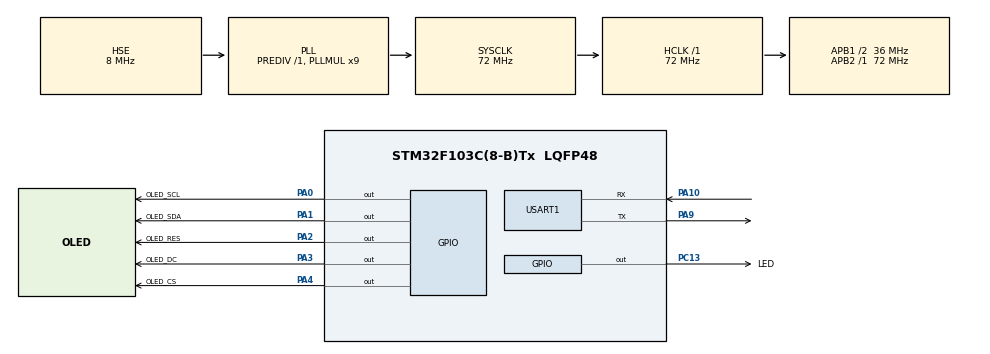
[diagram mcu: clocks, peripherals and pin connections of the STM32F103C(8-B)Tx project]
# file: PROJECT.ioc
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Dma.Request0=USART1_RX
Dma.Request1=USART1_TX
Dma.USART1_RX.0.Direction=DMA_PERIPH_TO_MEMORY
Dma.USART1_RX.0.Instance=DMA1_Channel5
Dma.USART1_RX.0.MemDataAlignment=DMA_MDATAALIGN_BYTE
Dma.USART1_RX.0.MemInc=DMA_MINC_ENABLE
Dma.USART1_RX.0.Mode=DMA_NORMAL
Dma.USART1_RX.0.PeriphDataAlignment=DMA_PDATAALIGN_BYTE
Dma.USART1_RX.0.PeriphInc=DMA_PINC_DISABLE
Dma.USART1_RX.0.Priority=DMA_PRIORITY_HIGH
Dma.USART1_TX.1.Direction=DMA_MEMORY_TO_PERIPH
Dma.USART1_TX.1.Instance=DMA1_Channel4
Dma.USART1_TX.1.MemDataAlignment=DMA_MDATAALIGN_BYTE
Dma.USART1_TX.1.MemInc=DMA_MINC_ENABLE
Dma.USART1_TX.1.Mode=DMA_NORMAL
Dma.USART1_TX.1.PeriphDataAlignment=DMA_PDATAALIGN_BYTE
Dma.USART1_TX.1.PeriphInc=DMA_PINC_DISABLE
Dma.USART1_TX.1.Priority=DMA_PRIORITY_MEDIUM
Mcu.Family=STM32F1
Mcu.Name=STM32F103C(8-B)Tx
Mcu.Package=LQFP48
NVIC.DMA1_Channel4_IRQn=true\:0\:0\:false\:false\:true\:false\:true\:true
NVIC.DMA1_Channel5_IRQn=true\:0\:0\:false\:false\:true\:false\:true\:true
NVIC.PriorityGroup=NVIC_PRIORITYGROUP_4
NVIC.USART1_IRQn=true\:1\:0\:true\:false\:true\:true\:true\:true
PA0-WKUP.GPIO_Label=OLED_SCL
PA0-WKUP.GPIO_Speed=GPIO_SPEED_FREQ_HIGH
PA0-WKUP.PinState=GPIO_PIN_SET
PA0-WKUP.Signal=GPIO_Output
PA1.GPIO_Label=OLED_SDA
PA1.GPIO_Speed=GPIO_SPEED_FREQ_HIGH
PA1.PinState=GPIO_PIN_SET
PA1.Signal=GPIO_Output
PA10.Mode=Asynchronous
PA10.Signal=USART1_RX
PA13.Mode=Serial_Wire
PA13.Signal=SYS_JTMS-SWDIO
PA14.Mode=Serial_Wire
PA14.Signal=SYS_JTCK-SWCLK
PA2.GPIO_Label=OLED_RES
PA2.GPIO_Speed=GPIO_SPEED_FREQ_HIGH
PA2.PinState=GPIO_PIN_SET
PA2.Signal=GPIO_Output
PA3.GPIO_Label=OLED_DC
PA3.GPIO_Speed=GPIO_SPEED_FREQ_HIGH
PA3.PinState=GPIO_PIN_SET
PA3.Signal=GPIO_Output
PA4.GPIO_Label=OLED_CS
PA4.GPIO_Speed=GPIO_SPEED_FREQ_HIGH
PA4.PinState=GPIO_PIN_SET
PA4.Signal=GPIO_Output
PA9.Mode=Asynchronous
PA9.Signal=USART1_TX
PC13-TAMPER-RTC.GPIO_Label=LED
PC13-TAMPER-RTC.Signal=GPIO_Output
PC14-OSC32_IN.Mode=LSE-External-Oscillator
PC14-OSC32_IN.Signal=RCC_OSC32_IN
PC15-OSC32_OUT.Mode=LSE-External-Oscillator
PC15-OSC32_OUT.Signal=RCC_OSC32_OUT
PD0-OSC_IN.Mode=HSE-External-Oscillator
PD0-OSC_IN.Signal=RCC_OSC_IN
PD1-OSC_OUT.Mode=HSE-External-Oscillator
PD1-OSC_OUT.Signal=RCC_OSC_OUT
ProjectManager.HeapSize=0x200
ProjectManager.StackSize=0x400
ProjectManager.TargetToolchain=MDK-ARM V5.32
RCC.ADCPresc=RCC_ADCPCLK2_DIV6
RCC.AHBFreq_Value=72000000
RCC.APB1CLKDivider=RCC_HCLK_DIV2
RCC.APB1Freq_Value=36000000
RCC.APB1TimFreq_Value=72000000
RCC.APB2Freq_Value=72000000
RCC.APB2TimFreq_Value=72000000
RCC.HCLKFreq_Value=72000000
RCC.PLLMUL=RCC_PLL_MUL9
RCC.PLLSourceVirtual=RCC_PLLSOURCE_HSE
RCC.SYSCLKFreq_VALUE=72000000
RCC.SYSCLKSource=RCC_SYSCLKSOURCE_PLLCLK
RCC.USBFreq_Value=72000000
USART1.VirtualMode=VM_ASYNC
board=custom

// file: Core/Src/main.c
/* USER CODE BEGIN Header */
/**
  ******************************************************************************
  * @file           : main.c
  * @brief          : Main program body
  ******************************************************************************
  * @attention
  *
  * Copyright (c) 2024 STMicroelectronics.
  * All rights reserved.
  *
  * This software is licensed under terms that can be found in the LICENSE file
  * in the root directory of this software component.
  * If no LICENSE file comes with this software, it is provided AS-IS.
  *
  ******************************************************************************
  */
/* USER CODE END Header */
#include "main.h"
#include "dma.h"
#include "usart.h"
#include "gpio.h"

/* USER CODE BEGIN Includes */

#include "stdio.h"
#include "oled.h"
#include "bsp_uart.h"

/* USER CODE END Includes */

void SystemClock_Config(void);

int main(void)
{
    /* USER CODE BEGIN 1 */

    uint32_t time_cnt;

    /* USER CODE END 1 */

    /* MCU Configuration--------------------------------------------------------*/

    /* Reset of all peripherals, Initializes the Flash interface and the Systick. */
    HAL_Init();

    /* Configure the system clock */
    SystemClock_Config();

    /* Initialize all configured peripherals */
    MX_GPIO_Init();
    MX_DMA_Init();
    MX_USART1_UART_Init();
    /* USER CODE BEGIN 2 */

    OLED_Init();
    OLED_ColorTurn(0);   //0正常显示，1 反色显示
    OLED_DisplayTurn(0); //0正常显示 1 屏幕翻转显示

    OLED_ShowChinese(40, 8, 0, 16, 1);		//采
    OLED_ShowChinese(58, 8, 1, 16, 1);		//集
    OLED_ShowChinese(76, 8, 4, 16, 1);		//值
    OLED_ShowString(35, 30, (unsigned char *)"  STOP      ", 16, 1);
    OLED_Refresh();   //刷新，显存

    bsp_uart_init();
    bsp_debug_dma_printf("Test Code 1\r\n");
	HAL_Delay(1);
    bsp_debug_dma_printf("Test Code 2\r\n");
	HAL_Delay(1);
    bsp_debug_dma_printf("Test Code 3\r\n");
	HAL_Delay(1);
    bsp_debug_dma_printf("Test Code 4\r\n");
	HAL_Delay(1);
    bsp_debug_dma_printf("Test Code 5\r\n");

    HAL_GPIO_WritePin(LED_GPIO_Port, LED_Pin, GPIO_PIN_SET);

    /* USER CODE END 2 */

    /* Infinite loop */
    while (1)
    {

        /* USER CODE BEGIN 3 */

		if(debug.rx_finish)
		{
			//bsp_debug_dma_printf("%\r\n%d\r\n", debug.rx_count);
			bsp_debug_dma_send_data(debug.rx_buff, debug.rx_count);
			while(debug.tx_finish == 1);
			bsp_debug_rx_clear();
		}
//
//		if(++time_cnt >= 1000)
//		{
//			time_cnt = 0;
//			HAL_GPIO_TogglePin(LED_GPIO_Port, LED_Pin);
//		}

        HAL_Delay(1);

    }
    /* USER CODE END 3 */
}

void SystemClock_Config(void)
{
    RCC_OscInitTypeDef RCC_OscInitStruct = {0};
    RCC_ClkInitTypeDef RCC_ClkInitStruct = {0};

    /** Initializes the RCC Oscillators according to the specified parameters
    * in the RCC_OscInitTypeDef structure.
    */
    RCC_OscInitStruct.OscillatorType = RCC_OSCILLATORTYPE_HSE;
    RCC_OscInitStruct.HSEState = RCC_HSE_ON;
    RCC_OscInitStruct.HSEPredivValue = RCC_HSE_PREDIV_DIV1;
    RCC_OscInitStruct.HSIState = RCC_HSI_ON;
    RCC_OscInitStruct.PLL.PLLState = RCC_PLL_ON;
    RCC_OscInitStruct.PLL.PLLSource = RCC_PLLSOURCE_HSE;
    RCC_OscInitStruct.PLL.PLLMUL = RCC_PLL_MUL9;
    if (HAL_RCC_OscConfig(&RCC_OscInitStruct) != HAL_OK)
    {
        Error_Handler();
    }

    /** Initializes the CPU, AHB and APB buses clocks
    */
    RCC_ClkInitStruct.ClockType = RCC_CLOCKTYPE_HCLK | RCC_CLOCKTYPE_SYSCLK
                                  | RCC_CLOCKTYPE_PCLK1 | RCC_CLOCKTYPE_PCLK2;
    RCC_ClkInitStruct.SYSCLKSource = RCC_SYSCLKSOURCE_PLLCLK;
    RCC_ClkInitStruct.AHBCLKDivider = RCC_SYSCLK_DIV1;
    RCC_ClkInitStruct.APB1CLKDivider = RCC_HCLK_DIV2;
    RCC_ClkInitStruct.APB2CLKDivider = RCC_HCLK_DIV1;

    if (HAL_RCC_ClockConfig(&RCC_ClkInitStruct, FLASH_LATENCY_2) != HAL_OK)
    {
        Error_Handler();
    }
}

void Error_Handler(void)
{
    __disable_irq();
    while (1)
    {
    }
}
